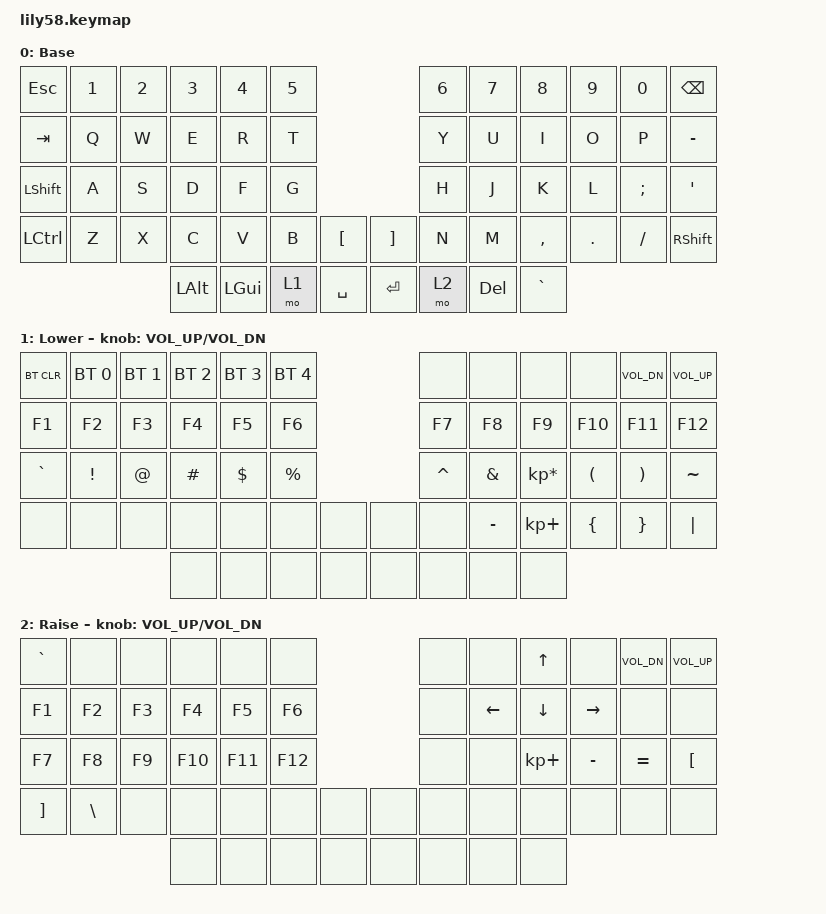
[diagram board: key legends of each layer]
/*
 * Copyright (c) 2020 The ZMK Contributors
 *
 * SPDX-License-Identifier: MIT
 */

#include <behaviors.dtsi>
#include <dt-bindings/zmk/bt.h>
#include <dt-bindings/zmk/keys.h>

/ {
    keymap {
        compatible = "zmk,keymap";

        default_layer {
            display-name = "Base";
            bindings = <
&kp ESC         &kp N1  &kp N2  &kp N3    &kp N4    &kp N5                             &kp N6  &kp N7    &kp N8     &kp N9   &kp N0    &kp BSPC
&kp TAB         &kp Q   &kp W   &kp E     &kp R     &kp T                              &kp Y   &kp U     &kp I      &kp O    &kp P     &kp MINUS
&kp LEFT_SHIFT  &kp A   &kp S   &kp D     &kp F     &kp G                              &kp H   &kp J     &kp K      &kp L    &kp SEMI  &kp SQT
&kp LCTRL       &kp Z   &kp X   &kp C     &kp V     &kp B     &kp LBKT      &kp RBKT   &kp N   &kp M     &kp COMMA  &kp DOT  &kp FSLH  &kp RSHFT
                                &kp LALT  &kp LGUI  &mo 1     &kp SPACE     &kp RET    &mo 2   &kp DEL   &kp GRAVE
            >;
        };

        lower_layer {
            display-name = "Lower";
            bindings = <
&bt BT_CLR  &bt BT_SEL 0  &bt BT_SEL 1  &bt BT_SEL 2  &bt BT_SEL 3  &bt BT_SEL 4                  &none      &none      &none            &none     &kp C_VOL_DN  &kp C_VOL_UP
&kp F1      &kp F2        &kp F3        &kp F4        &kp F5        &kp F6                        &kp F7     &kp F8     &kp F9           &kp F10   &kp F11       &kp F12
&kp GRAVE   &kp EXCL      &kp AT        &kp HASH      &kp DOLLAR    &kp PRCNT                     &kp CARET  &kp AMPS   &kp KP_MULTIPLY  &kp LPAR  &kp RPAR      &kp TILDE
&none       &none         &none         &none         &none         &none         &none   &none   &none      &kp MINUS  &kp KP_PLUS      &kp LBRC  &kp RBRC      &kp PIPE
                                        &none         &none         &none         &none   &none   &none      &none      &none
            >;

            sensor-bindings = <&inc_dec_kp C_VOL_UP C_VOL_DN>;
        };

        raise_layer {
            display-name = "Raise";
            bindings = <
&kp GRAVE  &none     &none   &none    &none    &none                      &none      &none     &kp UP       &none      &kp C_VOL_DN  &kp C_VOL_UP
&kp F1     &kp F2    &kp F3  &kp F4   &kp F5   &kp F6                     &none      &kp LEFT  &kp DOWN     &kp RIGHT  &none         &none
&kp F7     &kp F8    &kp F9  &kp F10  &kp F11  &kp F12                    &none      &none     &kp KP_PLUS  &kp MINUS  &kp EQUAL     &kp LBKT
&kp RBKT   &kp BSLH  &none   &none    &none    &none    &none     &none   &none      &none     &none        &none      &none         &none
                             &none    &none    &none    &none     &none   &none      &none     &none
            >;

            sensor-bindings = <&inc_dec_kp C_VOL_UP C_VOL_DN>;
        };

        extra_1 { status = "reserved"; };
        extra_2 { status = "reserved"; };
        extra_3 { status = "reserved"; };
    };
};
